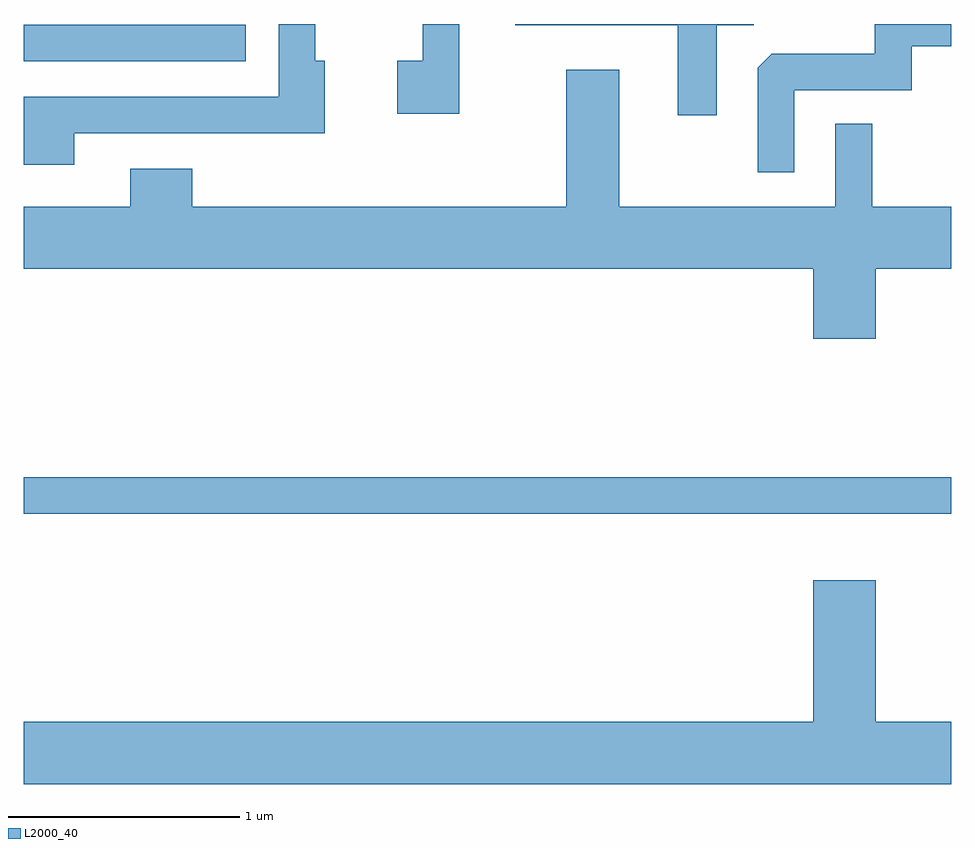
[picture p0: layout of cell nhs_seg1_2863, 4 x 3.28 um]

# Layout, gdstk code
import gdstk
lib = gdstk.Library(unit=1e-6, precision=1e-09)
def R(c, l, rs):  # rectangles x0, y0, x1, y1
    for r in rs: c.add(gdstk.rectangle(r[:2], r[2:], *l))
def P(c, l, *ps):  # polygons
    for p in ps: c.add(gdstk.Polygon(p, *l))
L2000_40 = (2000, 40)

nhs_seg1_2863 = lib.new_cell('nhs_seg1_2863')
R(nhs_seg1_2863, L2000_40, [(271.611,929.601,275.611,929.759), (271.611,931.551,272.568,931.709)])
P(nhs_seg1_2863, L2000_40, [(273.489,931.712),(273.331,931.712),(273.331,931.554),(273.221,931.554),(273.221,931.326),(273.489,931.326)],
  [(274.599,931.706),(274.759,931.706),(274.759,931.712),(273.731,931.712),(273.731,931.706),(274.431,931.706),(274.431,931.318),(274.599,931.318)],
  [(271.829,931.241),(272.909,931.241),(272.909,931.554),(272.869,931.554),(272.869,931.712),(272.711,931.712),(272.711,931.399),(271.611,931.399),(271.611,931.106),(271.829,931.106)],
  [(274.934,931.426),(275.439,931.426),(275.439,931.616),(275.611,931.616),(275.611,931.712),(275.281,931.712),(275.281,931.584),(274.837,931.584),(274.776,931.524),(274.776,931.073),(274.934,931.073)],
  [(275.284,930.656),(275.611,930.656),(275.611,930.924),(275.269,930.924),(275.269,931.283),(275.111,931.283),(275.111,930.924),(274.179,930.924),(274.179,931.514),(273.951,931.514),(273.951,930.924),(272.339,930.924),(272.339,931.089),(272.071,931.089),(272.071,930.924),(271.611,930.924),(271.611,930.656),(275.016,930.656),(275.016,930.356),(275.284,930.356)],
  [(275.611,928.704),(275.284,928.704),(275.284,929.314),(275.016,929.314),(275.016,928.704),(271.611,928.704),(271.611,928.436),(275.611,928.436)])

lib.write_gds('nhs_seg1_2863.gds')
